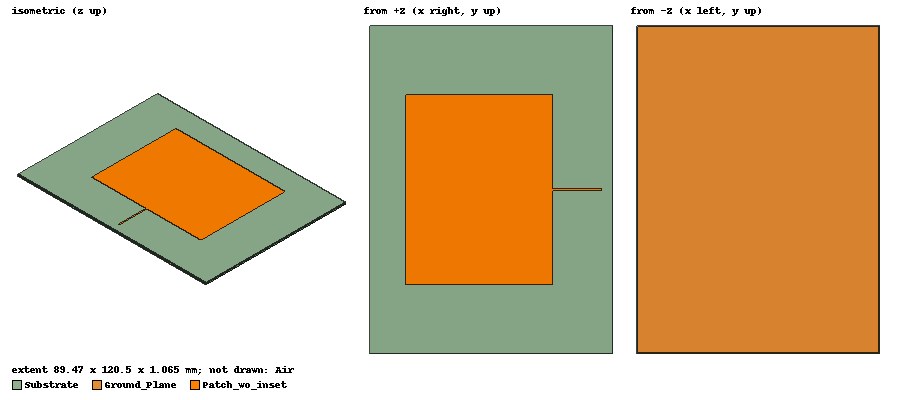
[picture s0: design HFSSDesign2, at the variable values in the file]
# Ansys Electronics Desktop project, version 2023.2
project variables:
  $h = 1.065mm
  $L_patch = 53.975mm  # optimise 27.5mm..82.5mm; tune 27.5mm..82.5mm
  $W_patch = 70mm  # optimise 35mm..105mm; tune 35mm..105mm
  $x_gap = 2.73mm  # optimise 1.365mm..4.095mm; tune 1.37mm..4.11mm
  $y_gap = 5mm  # optimise 2.5mm..7.5mm; tune 2mm..6mm
  $w50 = 0.72mm
  $L_feedLine = ($L_substrate - $L_patch)/2
  $QW = 0.064meter
  $L_substrate = 0.0269 + $Loffset_substrate + $L_patch
  $W_substrate = $lambda/2-0.000384
  $lambda_c = 241.8mm
  $far_field = (2*($W_substrate^2)/$lambda*1e3) mm
  $lambda = 0.241768meter
  $Loffset_substrate = 8.6mm
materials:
  vacuum: permittivity=1
  FR4-Standard Tg 140C: permittivity=4.7 dielectric_loss_tangent=0.02 delta_H_freq=1GHz
  FR4_epoxy: permittivity=4.4 dielectric_loss_tangent=0.02
  Polyflon Copper-Clad ULTEM (tm): permittivity=3.05 dielectric_loss_tangent=0.006

design HFSSDesign1 (HFSS, HFSS Terminal Network, model units mm)
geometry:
  Substrate [FR4-Standard Tg 140C] = box(corner=(-$L_substrate/2, -$W_substrate/2, 0mm), size=($L_substrate, $W_substrate, -$h))
  Ground_Plane = rectangle(corner=(-$L_substrate/2, -$W_substrate/2, -$h), x_size=$L_substrate, y_size=$W_substrate)
  Patch = rectangle(corner=(-$L_patch/2, -$W_patch/2, 0mm), x_size=$L_patch, y_size=$W_patch)
  Gap = rectangle(corner=($L_patch/2-$x_gap, -$y_gap/2, 0mm), x_size=$x_gap, y_size=$y_gap)
  Patch.subtract(Gap)
  Patch_inset = rectangle(corner=($L_patch/2-$x_gap, -$w50/2, 0mm), x_size=$x_gap + $L_feedLine, y_size=$w50)
  Patch_inset.unite(Patch)
  Air [vacuum] = box(corner=(-($far_field + $L_substrate)/2, -($far_field + $W_substrate)/2, -$QW/2), size=($far_field + $L_substrate, $far_field + $W_substrate, $QW))
  Source = object_from(Patch_inset.edge(at (44.7375, 0, 0)))
  Source.sweep_along_vector((0mm, 0mm, -$h))
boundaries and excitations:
  PerfE_Ground: Perfect E Objects=Ground_Plane
  PerfE_Patch: Perfect E Objects=Patch_inset
  Patch_inset_T1: Terminal port=1 Edges=Patch_inset.edge(at (44.7375, 0, 0)) TerminalResistance=50ohm
  1: Lumped Port Faces=Source.face LumpedPortType=Terminal Impedance=50ohm
  reference conductors: Ground_Plane
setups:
  Setup1: HfssDriven Frequency=1.24GHz MaxDeltaS=0.02 MaximumPasses=10 MinimumPasses=1 MinimumConvergedPasses=1 PercentRefinement=30 BasisOrder=1 PortAccuracy=2 DrivenSolverType="Direct Solver"
    sweep Sweep: 0.62GHz to 1.86GHz, 401 points; Type=Interpolating InterpTolerance=0.5 InterpMaxSolns=250 PassivityErrorTolerance=0.0001
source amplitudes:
  1:1: 1V 0deg
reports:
  Terminal S Parameter Plot 1: dB(St(Patch_inset_T1,Patch_inset_T1)) vs Freq on Setup1 : Sweep; markers m1 at 1.24GHz, m4 at 1.2431GHz, m5 at 1.2351086GHz

design HFSSDesign2 (HFSS, HFSS Terminal Network, model units mm)
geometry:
  Patch_wo_inset = rectangle(corner=($L_patch/2-$x_gap, -$w50/2, 0mm), x_size=$x_gap + $L_feedLine, y_size=$w50)
  Patch = rectangle(corner=(-$L_patch/2, -$W_patch/2, 0mm), x_size=$L_patch, y_size=$W_patch)
  Patch_wo_inset.unite(Patch)
  Source = rectangle(corner=($L_patch/2+$L_feedLine, -$w50/2, 0mm), y_size=$w50, z_size=-$h)
  Air [vacuum] = box(corner=(-($far_field + $L_substrate)/2, -($far_field + $W_substrate)/2, -$QW/2), size=($far_field + $L_substrate, $far_field + $W_substrate, $QW))
  Ground_Plane = rectangle(corner=(-($L_substrate-0.001)/2+$Loffset_substrate/2, -($W_substrate-0.001)/2, -$h), x_size=$L_substrate-0.001, y_size=$W_substrate-0.001)
  Substrate [FR4-Standard Tg 140C] = box(corner=(-$L_substrate/2+$Loffset_substrate/2, -$W_substrate/2, 0mm), size=($L_substrate, $W_substrate, -$h))
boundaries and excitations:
  Radiation: Radiation Objects=Air Faces=Air.face(+x, +y, -x, -y, +z)
  PerfE_Patch: Perfect E Objects=Patch_wo_inset
  PerfE1: Perfect E Objects=Ground_Plane
  Patch_wo_inset_T2: Terminal port=Lumped_port1 Edges=Patch_wo_inset.edge(at (44.7375, 0, 0)) TerminalResistance=50ohm
  Lumped_port1: Lumped Port Faces=Source.face LumpedPortType=Terminal Impedance=50ohm
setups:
  Setup1: HfssDriven Frequency=1.24GHz MaxDeltaS=0.02 MaximumPasses=10 MinimumPasses=1 MinimumConvergedPasses=1 PercentRefinement=30 BasisOrder=1 PortAccuracy=2 DrivenSolverType="Direct Solver" InfiniteSphereSetup=8
    sweep Sweep1: 0.62GHz to 1.86GHz step 0.0031GHz; Type=Interpolating InterpTolerance=0.5 InterpMaxSolns=250 PassivityErrorTolerance=0.0001
  Setup2: HfssDriven Frequency=5GHz MaxDeltaS=0.02 MaximumPasses=6 MinimumPasses=1 MinimumConvergedPasses=1 PercentRefinement=30 BasisOrder=1 PortAccuracy=2 DrivenSolverType="Direct Solver" InfiniteSphereSetup=8
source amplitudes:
  Lumped_port1:1: 1V 0deg
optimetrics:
  OptimizationSetup1: Optimization Optimizer="kDX ASO" AnalysisStopOptions{StopForNumIteration MaxNumIteration=68 MinNumIteration=10} CostFuncNormType=L2 Acceptable_Cost=0 Noise=0.0001 UpdateDesignWhenDone
    goal mag(St(Patch_wo_inset_T2,Patch_wo_inset_T2)) ==  weight 1 on Setup1 : Sweep1 at Freq 0.62GHz to 1.86GHz
    goal dB($L_patch) ==  weight 1 on Setup1 : Sweep1 at Freq 0.62GHz to 1.86GHz
    goal dB($W_patch) ==  weight 1 on Setup1 : Sweep1 at Freq 0.62GHz to 1.86GHz
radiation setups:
  Infinite Sphere1: Infinite Sphere Theta=0deg..180deg step 2deg Phi=-180deg..180deg step 2deg
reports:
  Terminal S Parameter Plot 1: dB(St(Patch_wo_inset_T2,Patch_wo_inset_T2)) vs Freq on Setup1 : Sweep1; markers m5 at 1.24GHz, MY1 at y=-10
  Terminal S Parameter Plot 2: dB(St(1,1)) vs Freq on Setup1 : Sweep1; markers m1 at 1.2276GHz, m2 at 1.2493GHz, m3 at 1.24GHz
  Terminal S Parameter Plot 3: dB(St(1,1)) vs Freq on Setup1 : Sweep1 [$L_patch=all $W_patch=all $x_gap=all $y_gap=all]; markers MX1 at x=1.2404169e+09
  Terminal Z Parameter Plot 1: re(Zt(Patch_wo_inset_T2,Patch_wo_inset_T2)), im(Zt(Patch_wo_inset_T2,Patch_wo_inset_T2)) vs Freq on Setup1 : Sweep1 [$L_patch=all $W_patch=all]
  Terminal Z Parameter Plot 2: re(Zt(Patch_wo_inset_T2,Patch_wo_inset_T2)), im(Zt(Patch_wo_inset_T2,Patch_wo_inset_T2)) vs Freq on Setup1 : Sweep1 [$L_patch=all $W_patch=all]
  Terminal Z Parameter Plot 3: re(Zt(Patch_wo_inset_T2,Patch_wo_inset_T2)), im(Zt(Patch_wo_inset_T2,Patch_wo_inset_T2)) vs Freq on Setup1 : Sweep1 [$L_patch=54.6mm $W_patch=70mm]
  Gain Plot 1: dB(GainTotal) vs Theta on Setup1 : LastAdaptive, Infinite Sphere1 [Phi=all Freq=1.24GHz]
  Gain Plot 2: dB(GainTotal) vs Phi, Theta on Setup1 : LastAdaptive, Infinite Sphere1 [Freq=1.24GHz]
  Terminal Z Parameter Chart 1: Zt(Patch_wo_inset_T2,Patch_wo_inset_T2) on Setup1 : Sweep1 [Freq=all $L_patch=all $W_patch=all]
  Terminal Y Parameter Chart 1: Yt(Patch_wo_inset_T2,Patch_wo_inset_T2) on Setup1 : Sweep1 [Freq=all $L_patch=all $W_patch=all]
